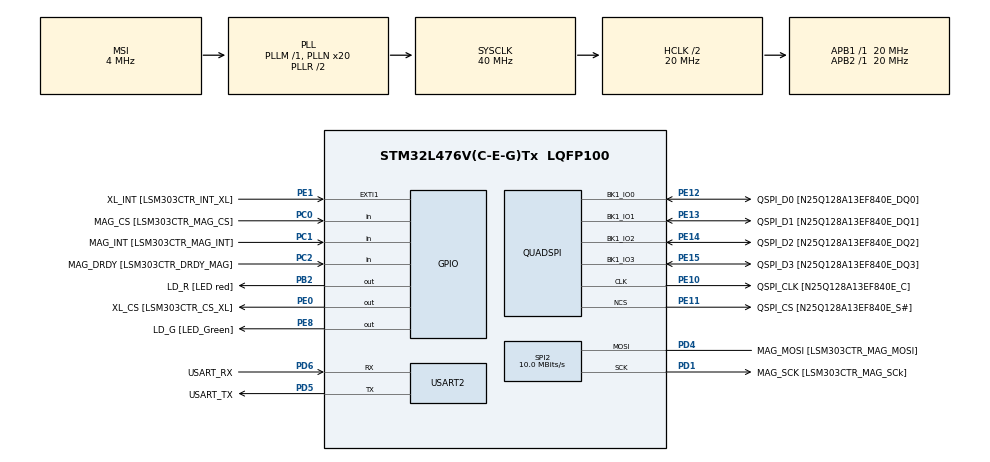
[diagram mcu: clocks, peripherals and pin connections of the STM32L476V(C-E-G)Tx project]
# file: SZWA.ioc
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Mcu.Family=STM32L4
Mcu.Name=STM32L476V(C-E-G)Tx
Mcu.Package=LQFP100
NVIC.PriorityGroup=NVIC_PRIORITYGROUP_4
NVIC.TIM6_DAC_IRQn=true\:0\:0\:false\:false\:true\:true\:true
NVIC.USART2_IRQn=true\:0\:0\:false\:false\:true\:true\:true
PB2.GPIO_Label=LD_R [LED red]
PB2.GPIO_ModeDefaultOutputPP=GPIO_MODE_OUTPUT_PP
PB2.GPIO_PuPd=GPIO_PULLUP
PB2.GPIO_Speed=GPIO_SPEED_FREQ_VERY_HIGH
PB2.Signal=GPIO_Output
PC0.GPIO_Label=MAG_CS [LSM303CTR_MAG_CS]
PC0.Signal=GPIO_Input
PC1.GPIO_Label=MAG_INT [LSM303CTR_MAG_INT]
PC1.GPIO_Mode=GPIO_MODE_INPUT
PC1.GPIO_PuPd=GPIO_NOPULL
PC1.Signal=GPIO_Input
PC14-OSC32_IN\ (PC14).Mode=LSE-External-Oscillator
PC14-OSC32_IN\ (PC14).Signal=RCC_OSC32_IN
PC15-OSC32_OUT\ (PC15).Mode=LSE-External-Oscillator
PC15-OSC32_OUT\ (PC15).Signal=RCC_OSC32_OUT
PC2.GPIO_Label=MAG_DRDY [LSM303CTR_DRDY_MAG]
PC2.GPIO_Mode=GPIO_MODE_INPUT
PC2.GPIO_PuPd=GPIO_NOPULL
PC2.Signal=GPIO_Input
PD1.GPIO_Label=MAG_SCK [LSM303CTR_MAG_SCk]
PD1.Mode=Simplex_Bidirectional_Master
PD1.Signal=SPI2_SCK
PD4.GPIO_Label=MAG_MOSI [LSM303CTR_MAG_MOSI]
PD4.Mode=Simplex_Bidirectional_Master
PD4.Signal=SPI2_MOSI
PD5.GPIO_Label=USART_TX
PD5.GPIO_Mode=GPIO_MODE_AF_PP
PD5.GPIO_PuPd=GPIO_PULLUP
PD5.GPIO_Speed=GPIO_SPEED_FREQ_VERY_HIGH
PD5.Mode=Asynchronous
PD5.Signal=USART2_TX
PD6.GPIO_Label=USART_RX
PD6.GPIO_Mode=GPIO_MODE_AF_PP
PD6.GPIO_PuPd=GPIO_PULLUP
PD6.GPIO_Speed=GPIO_SPEED_FREQ_VERY_HIGH
PD6.Mode=Asynchronous
PD6.Signal=USART2_RX
PE0.GPIO_Label=XL_CS [LSM303CTR_CS_XL]
PE0.GPIO_ModeDefaultOutputPP=GPIO_MODE_OUTPUT_PP
PE0.GPIO_PuPd=GPIO_NOPULL
PE0.GPIO_Speed=GPIO_SPEED_FREQ_LOW
PE0.Signal=GPIO_Output
PE1.GPIO_Label=XL_INT [LSM303CTR_INT_XL]
PE1.GPIO_ModeDefaultEXTI=GPIO_MODE_EVT_RISING
PE1.GPIO_PuPd=GPIO_NOPULL
PE1.Signal=GPXTI1
PE10.GPIO_Label=QSPI_CLK [N25Q128A13EF840E_C]
PE10.GPIO_Mode=GPIO_MODE_AF_PP
PE10.GPIO_PuPd=GPIO_NOPULL
PE10.GPIO_Speed=GPIO_SPEED_FREQ_VERY_HIGH
PE10.Mode=Single Bank
PE10.Signal=QUADSPI_CLK
PE11.GPIO_Label=QSPI_CS [N25Q128A13EF840E_S\#]
PE11.GPIO_Mode=GPIO_MODE_AF_PP
PE11.GPIO_PuPd=GPIO_NOPULL
PE11.GPIO_Speed=GPIO_SPEED_FREQ_VERY_HIGH
PE11.Mode=Single Bank
PE11.Signal=QUADSPI_NCS
PE12.GPIO_Label=QSPI_D0 [N25Q128A13EF840E_DQ0]
PE12.GPIO_Mode=GPIO_MODE_AF_PP
PE12.GPIO_PuPd=GPIO_NOPULL
PE12.GPIO_Speed=GPIO_SPEED_FREQ_VERY_HIGH
PE12.Mode=Single Bank
PE12.Signal=QUADSPI_BK1_IO0
PE13.GPIO_Label=QSPI_D1 [N25Q128A13EF840E_DQ1]
PE13.GPIO_Mode=GPIO_MODE_AF_PP
PE13.GPIO_PuPd=GPIO_NOPULL
PE13.GPIO_Speed=GPIO_SPEED_FREQ_VERY_HIGH
PE13.Mode=Single Bank
PE13.Signal=QUADSPI_BK1_IO1
PE14.GPIO_Label=QSPI_D2 [N25Q128A13EF840E_DQ2]
PE14.GPIO_Mode=GPIO_MODE_AF_PP
PE14.GPIO_PuPd=GPIO_NOPULL
PE14.GPIO_Speed=GPIO_SPEED_FREQ_VERY_HIGH
PE14.Mode=Single Bank
PE14.Signal=QUADSPI_BK1_IO2
PE15.GPIO_Label=QSPI_D3 [N25Q128A13EF840E_DQ3]
PE15.GPIO_Mode=GPIO_MODE_AF_PP
PE15.GPIO_PuPd=GPIO_NOPULL
PE15.GPIO_Speed=GPIO_SPEED_FREQ_VERY_HIGH
PE15.Mode=Single Bank
PE15.Signal=QUADSPI_BK1_IO3
PE8.GPIO_Label=LD_G [LED_Green]
PE8.GPIO_ModeDefaultOutputPP=GPIO_MODE_OUTPUT_PP
PE8.GPIO_PuPd=GPIO_PULLUP
PE8.GPIO_Speed=GPIO_SPEED_FREQ_VERY_HIGH
PE8.Signal=GPIO_Output
PH0-OSC_IN\ (PH0).Mode=HSE-External-Oscillator
PH0-OSC_IN\ (PH0).Signal=RCC_OSC_IN
PH1-OSC_OUT\ (PH1).Mode=HSE-External-Oscillator
PH1-OSC_OUT\ (PH1).Signal=RCC_OSC_OUT
ProjectManager.HeapSize=0x200
ProjectManager.StackSize=0x400
ProjectManager.TargetToolchain=STM32CubeIDE
QUADSPI.ChipSelectHighTime-Single\ Bank=QSPI_CS_HIGH_TIME_2_CYCLE
QUADSPI.ClockPrescaler-Single\ Bank=2
QUADSPI.FifoThreshold-Single\ Bank=4
QUADSPI.FlashSize-Single\ Bank=23
QUADSPI.SampleShifting-Single\ Bank=QSPI_SAMPLE_SHIFTING_HALFCYCLE
RCC.ADCFreq_Value=48000000
RCC.AHBCLKDivider=RCC_SYSCLK_DIV2
RCC.AHBFreq_Value=20000000
RCC.APB1Freq_Value=20000000
RCC.APB1TimFreq_Value=20000000
RCC.APB2Freq_Value=20000000
RCC.APB2TimFreq_Value=20000000
RCC.CortexFreq_Value=20000000
RCC.HCLKFreq_Value=20000000
RCC.HSE_VALUE=8000000
RCC.HSI_VALUE=16000000
RCC.MSI_VALUE=4000000
RCC.PLLN=20
RCC.PLLSAI1N=24
RCC.PREFETCH_ENABLE=1
RCC.RTCClockSelection=RCC_RTCCLKSOURCE_LSE
RCC.SYSCLKFreq_VALUE=40000000
RCC.SYSCLKSource=RCC_SYSCLKSOURCE_PLLCLK
RCC.USBFreq_Value=48000000
RCC.VCOOutputFreq_Value=80000000
SPI2.CalculateBaudRate=10.0 MBits/s
SPI2.Direction=SPI_DIRECTION_1LINE
SPI2.Mode=SPI_MODE_MASTER
SPI2.VirtualType=VM_MASTER
TIM6.Period=199
TIM6.Prescaler=399
USART2.VirtualMode-Asynchronous=VM_ASYNC
VP_RTC_VS_RTC_Activate.Mode=RTC_Enabled
VP_RTC_VS_RTC_Calendar.Mode=RTC_Calendar
VP_TIM6_VS_ClockSourceINT.Mode=Enable_Timer
board=STM32L476G-DISCO

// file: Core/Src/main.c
/* USER CODE BEGIN Header */
/**
 ******************************************************************************
 * @file           : main.c
 * @brief          : Main program body
 ******************************************************************************
 * @attention
 *
 * <h2><center>&copy; Copyright (c) 2021 STMicroelectronics.
 * All rights reserved.</center></h2>
 *
 * This software component is licensed by ST under Ultimate Liberty license
 * SLA0044, the "License"; You may not use this file except in compliance with
 * the License. You may obtain a copy of the License at:
 *                             www.st.com/SLA0044
 *
 ******************************************************************************
 */
/* USER CODE END Header */
#include "main.h"
#include "quadspi.h"
#include "rtc.h"
#include "spi.h"
#include "tim.h"
#include "usart.h"
#include "gpio.h"

/* USER CODE BEGIN Includes */
#include <stdio.h>
#include "flash.h"
#include "lsm303c.h"
#include <math.h>
/* USER CODE END Includes */

/* USER CODE BEGIN PV */
uint8_t bp;  //bit przychodzący
volatile uint8_t newData; // flaga gotowosci pomiaru
volatile uint8_t record;  // flaga rejestrowania pomiarow
/* USER CODE END PV */

void SystemClock_Config(void);

/* USER CODE BEGIN 0 */

int _write(int file, char *ptr, int len) {
	HAL_UART_Transmit(&huart2, (uint8_t*) ptr, len, 50);
	return len;
}

void actualTime() {
	RTC_TimeTypeDef rtcTime;
	RTC_DateTypeDef rtcData;
	HAL_RTC_GetTime(&hrtc, &rtcTime, RTC_FORMAT_BIN);
	HAL_RTC_GetDate(&hrtc, &rtcData, RTC_FORMAT_BIN);
	printf("Date: %02d.%02d.20%02d", rtcData.Date, rtcData.Month, rtcData.Year);
	printf("	Time: %02d:%02d:%02d:%03ld", rtcTime.Hours, rtcTime.Minutes,
			rtcTime.Seconds, rtcTime.SubSeconds);
	if(record) printf("		REC\n\r");
	else printf("		STOP\n\r");
}

void menu() {
	printf("\033[2J");
	actualTime();
	printf("#### SZWA-Sejsmograf z wykorzystaniem akcelerometru #### \r\n");
	printf("		1 -> Usun wszystkie pomiary \r\n");
	printf("		2 -> Wyswietl najwyzszy pomiar \r\n");
	printf("		3 -> Zatrzymaj/wznow pomiary \r\n");
	printf("		4 -> Wyswietl ostatni pomiar \r\n");
	printf("		5 -> Wyswietl 10 ostatnich pomiarow \r\n");
	printf("		6 -> Wyswietl liczbe pomiarow \r\n\n");

	switch(bp) {
		case'1':
			printf("Wyczyszczono pamiec \r\n");
			break;

		case '2':
			printf("Najwyzszy pomiar to: \r\n");
			infoStruct(&bestStruct);
			break;

		case '3':
			if(record) printf("Pomiary wznowione\r\n");
			else printf("Pomiary zatrzymane\r\n");
			break;

		case '4':
			getLastStruct();
			break;

		case '5':
			printf("Zapamietane pomiary: \r\n");
			listAllData();
			break;

		case '6':
			printf("Zapisanych pomiarow %d, pozostalo miejsca na %d \r\n", getDataCount(), memLeft());
			memLeft();
			break;
	}
}

void HAL_UART_RxCpltCallback(UART_HandleTypeDef *huart) {

	switch(bp) {
	case '1':
		printf("\033[2J \r\n");
		printf("Zacznynam czyscic pamiec... Potrwa to okolo 50s\r\n");
		clearMemory();
		break;

	case '3':
		record = !record;
		break;
	}

	HAL_UART_Receive_IT(&huart2, &bp, 1);
}

void HAL_TIM_PeriodElapsedCallback(TIM_HandleTypeDef *htim) {
	if (htim == &htim6) newData = 1;
}

void acceler()
{
	float axisg[3];
	int16_t rawData[3];

	LSM303C_AccReadXYZ(rawData);
	axisg[0] = (float) rawData[0] / 1600;
	axisg[0] = axisg[0] - 1.33;
	axisg[1] = (float) rawData[1] / 1600;
	axisg[1] = axisg[1];
	axisg[2] = (float) rawData[2] / 1600;
	axisg[2] = axisg[2] - 10.28;
	float W = sqrtf(pow(axisg[0], 2) + pow(axisg[1], 2) + pow(axisg[2], 2));
	if(W > 0.11) nextMeasurement(W);
}

/* USER CODE END 0 */

int main(void)
{

  /* MCU Configuration--------------------------------------------------------*/

  /* Reset of all peripherals, Initializes the Flash interface and the Systick. */
  HAL_Init();

  /* Configure the system clock */
  SystemClock_Config();

  /* Initialize all configured peripherals */
  MX_GPIO_Init();
  MX_QUADSPI_Init();
  MX_SPI2_Init();
  MX_USART2_UART_Init();
  MX_RTC_Init();
  MX_TIM6_Init();
  /* USER CODE BEGIN 2 */
  HAL_RTC_Init(&hrtc);
  BSP_QSPI_Init();
  LSM303C_AccInit(0x37);
  HAL_UART_Receive_IT(&huart2, &bp, 1);
  HAL_TIM_Base_Start_IT(&htim6);
  uint32_t lastTime = 0;
  /* USER CODE END 2 */

  /* Infinite loop */
  /* USER CODE BEGIN WHILE */

	while (1) {

		if(record == 1 && newData == 1){
			acceler();
			newData=0;
		}

		if((HAL_GetTick()-lastTime) > 500) {
			lastTime = HAL_GetTick();
			menu();
		}

    /* USER CODE END WHILE */

	}
}

void SystemClock_Config(void)
{
  RCC_OscInitTypeDef RCC_OscInitStruct = {0};
  RCC_ClkInitTypeDef RCC_ClkInitStruct = {0};
  RCC_PeriphCLKInitTypeDef PeriphClkInit = {0};

  /** Configure LSE Drive Capability
  */
  HAL_PWR_EnableBkUpAccess();
  __HAL_RCC_LSEDRIVE_CONFIG(RCC_LSEDRIVE_LOW);
  /** Initializes the RCC Oscillators according to the specified parameters
  * in the RCC_OscInitTypeDef structure.
  */
  RCC_OscInitStruct.OscillatorType = RCC_OSCILLATORTYPE_LSE|RCC_OSCILLATORTYPE_MSI;
  RCC_OscInitStruct.LSEState = RCC_LSE_ON;
  RCC_OscInitStruct.MSIState = RCC_MSI_ON;
  RCC_OscInitStruct.MSICalibrationValue = 0;
  RCC_OscInitStruct.MSIClockRange = RCC_MSIRANGE_6;
  RCC_OscInitStruct.PLL.PLLState = RCC_PLL_ON;
  RCC_OscInitStruct.PLL.PLLSource = RCC_PLLSOURCE_MSI;
  RCC_OscInitStruct.PLL.PLLM = 1;
  RCC_OscInitStruct.PLL.PLLN = 20;
  RCC_OscInitStruct.PLL.PLLP = RCC_PLLP_DIV7;
  RCC_OscInitStruct.PLL.PLLQ = RCC_PLLQ_DIV2;
  RCC_OscInitStruct.PLL.PLLR = RCC_PLLR_DIV2;
  if (HAL_RCC_OscConfig(&RCC_OscInitStruct) != HAL_OK)
  {
    Error_Handler();
  }
  /** Initializes the CPU, AHB and APB buses clocks
  */
  RCC_ClkInitStruct.ClockType = RCC_CLOCKTYPE_HCLK|RCC_CLOCKTYPE_SYSCLK
                              |RCC_CLOCKTYPE_PCLK1|RCC_CLOCKTYPE_PCLK2;
  RCC_ClkInitStruct.SYSCLKSource = RCC_SYSCLKSOURCE_PLLCLK;
  RCC_ClkInitStruct.AHBCLKDivider = RCC_SYSCLK_DIV2;
  RCC_ClkInitStruct.APB1CLKDivider = RCC_HCLK_DIV1;
  RCC_ClkInitStruct.APB2CLKDivider = RCC_HCLK_DIV1;

  if (HAL_RCC_ClockConfig(&RCC_ClkInitStruct, FLASH_LATENCY_1) != HAL_OK)
  {
    Error_Handler();
  }
  PeriphClkInit.PeriphClockSelection = RCC_PERIPHCLK_RTC|RCC_PERIPHCLK_USART2;
  PeriphClkInit.Usart2ClockSelection = RCC_USART2CLKSOURCE_PCLK1;
  PeriphClkInit.RTCClockSelection = RCC_RTCCLKSOURCE_LSE;
  if (HAL_RCCEx_PeriphCLKConfig(&PeriphClkInit) != HAL_OK)
  {
    Error_Handler();
  }
  /** Configure the main internal regulator output voltage
  */
  if (HAL_PWREx_ControlVoltageScaling(PWR_REGULATOR_VOLTAGE_SCALE1) != HAL_OK)
  {
    Error_Handler();
  }
  /** Enable MSI Auto calibration
  */
  HAL_RCCEx_EnableMSIPLLMode();
}

void Error_Handler(void)
{
}

/************************ (C) COPYRIGHT STMicroelectronics *****END OF FILE****/
